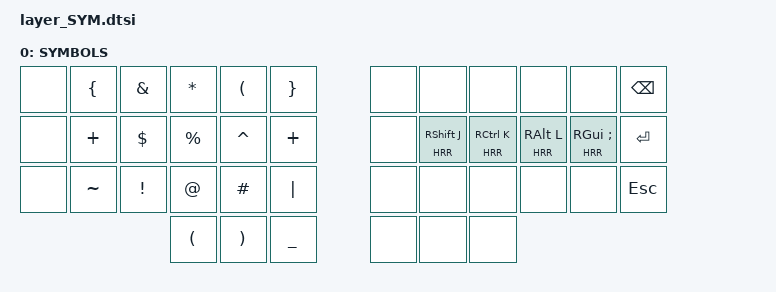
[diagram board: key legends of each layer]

/ {
    keymap {
        compatible = "zmk,keymap";

         symbols {
            display-name = "SYMBOLS";
            bindings = <
&none  &kp LBRC   &kp AMPERSAND  &kp ASTERISK          &kp LEFT_PARENTHESIS   &kp RBRC          &none  &none         &none         &none        &none           &kp BSPC
&none  &kp PLUS   &kp DOLLAR     &kp PERCENT           &kp CARET              &kp PLUS          &none  &HRR RSHFT J  &HRR RCTRL K  &HRR RALT L  &HRR RGUI SEMI  &kp RET
&none  &kp TILDE  &kp EXCL       &kp AT                &kp HASH               &kp PIPE          &none  &none         &none         &none        &none           &kp ESC
                                 &kp LEFT_PARENTHESIS  &kp RIGHT_PARENTHESIS  &kp UNDERSCORE    &none  &none         &none
            >;
        };
    };
};
